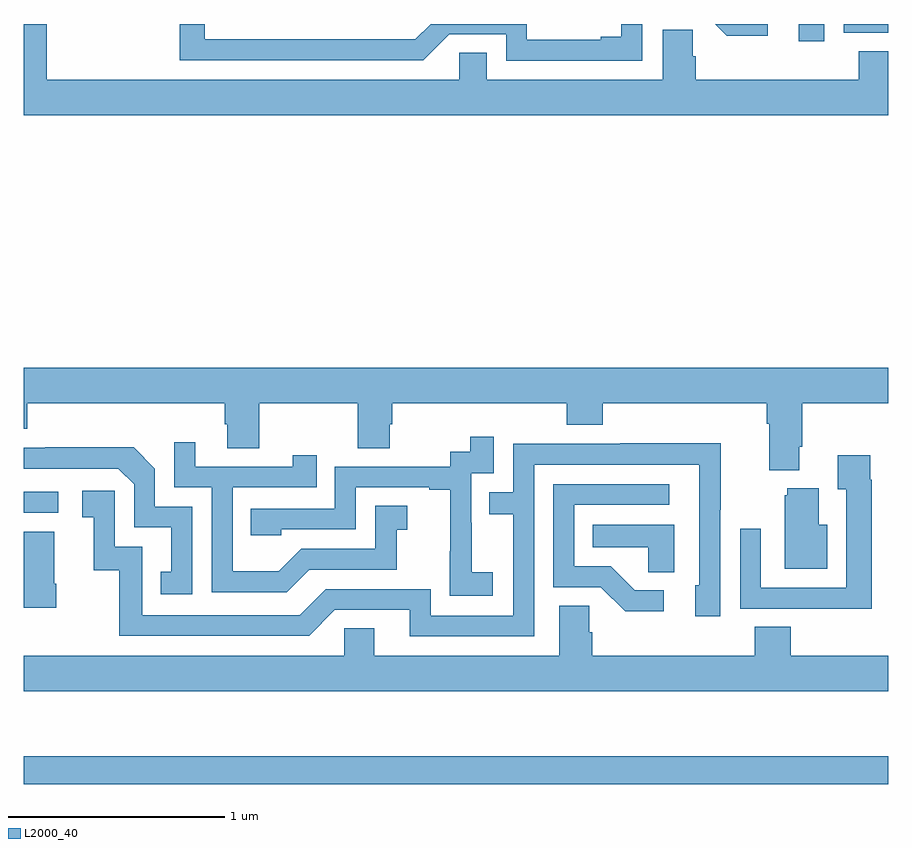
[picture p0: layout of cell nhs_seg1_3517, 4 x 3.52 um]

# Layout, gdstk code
import gdstk
lib = gdstk.Library(unit=1e-6, precision=1e-09)
def R(c, l, rs):  # rectangles x0, y0, x1, y1
    for r in rs: c.add(gdstk.rectangle(r[:2], r[2:], *l))
def P(c, l, *ps):  # polygons
    for p in ps: c.add(gdstk.Polygon(p, *l))
L2000_40 = (2000, 40)

nhs_seg1_3517 = lib.new_cell('nhs_seg1_3517')
R(nhs_seg1_3517, L2000_40, [(303,504.682,307,504.811), (303,505.938,303.16,506.034), (306.587,508.119,306.705,508.199), (306.795,508.158,307,508.199)])
P(nhs_seg1_3517, L2000_40, [(307,508.073),(306.863,508.073),(306.863,507.94),(306.11,507.94),(306.11,508.049),(306.096,508.049),(306.096,508.172),(305.957,508.172),(305.957,507.94),(305.143,507.94),(305.143,508.067),(305.016,508.067),(305.016,507.94),(303.107,507.94),(303.107,508.199),(303,508.199),(303,507.776),(307,507.776)],
  [(306.442,508.199),(306.2,508.199),(306.254,508.145),(306.442,508.145)],
  [(305.862,508.199),(305.765,508.199),(305.765,508.14),(305.669,508.14),(305.669,508.125),(305.328,508.125),(305.328,508.199),(304.883,508.199),(304.812,508.128),(303.837,508.128),(303.837,508.199),(303.721,508.199),(303.721,508.032),(304.848,508.032),(304.968,508.152),(305.232,508.152),(305.232,508.029),(305.862,508.029)],
  [(306.589,506.242),(306.602,506.242),(306.602,506.444),(307,506.444),(307,506.608),(303,506.608),(303,506.327),(303.017,506.327),(303.017,506.444),(303.929,506.444),(303.929,506.346),(303.941,506.346),(303.941,506.236),(304.089,506.236),(304.089,506.444),(304.546,506.444),(304.546,506.236),(304.693,506.236),(304.693,506.346),(304.706,506.346),(304.706,506.444),(305.513,506.444),(305.513,506.345),(305.678,506.345),(305.678,506.444),(306.437,506.444),(306.437,506.348),(306.449,506.348),(306.449,506.135),(306.589,506.135)],
  [(305.17,505.663),(305.072,505.663),(305.072,505.892),(305.07,505.892),(305.07,506.121),(305.175,506.121),(305.175,506.29),(305.067,506.29),(305.067,506.22),(304.974,506.22),(304.974,506.151),(304.44,506.151),(304.44,505.956),(304.051,505.956),(304.051,505.833),(304.191,505.833),(304.191,505.86),(304.536,505.86),(304.536,506.055),(304.877,506.055),(304.877,506.043),(304.973,506.043),(304.973,505.759),(304.972,505.759),(304.972,505.553),(305.17,505.553)],
  [(304.321,505.674),(304.725,505.674),(304.725,505.859),(304.774,505.859),(304.774,505.969),(304.626,505.969),(304.626,505.77),(304.284,505.77),(304.18,505.666),(303.966,505.666),(303.966,506.055),(304.355,506.055),(304.355,506.203),(304.244,506.203),(304.244,506.151),(303.793,506.151),(303.793,506.263),(303.696,506.263),(303.696,506.055),(303.87,506.055),(303.87,505.569),(304.216,505.569)],
  [(305.361,506.16),(306.126,506.16),(306.126,505.602),(306.107,505.602),(306.107,505.458),(306.222,505.458),(306.222,505.951),(306.225,505.951),(306.225,506.258),(305.761,506.258),(305.761,506.256),(305.265,506.256),(305.265,506.031),(305.155,506.031),(305.155,505.93),(305.265,505.93),(305.265,505.461),(304.884,505.461),(304.884,505.584),(304.398,505.584),(304.278,505.464),(303.549,505.464),(303.549,505.779),(303.42,505.779),(303.42,506.038),(303.27,506.038),(303.27,505.917),(303.323,505.917),(303.323,505.671),(303.441,505.671),(303.441,505.368),(304.32,505.368),(304.44,505.488),(304.787,505.488),(304.787,505.365),(305.361,505.365)],
  [(303.78,505.965),(303.606,505.965),(303.606,506.142),(303.508,506.24),(303.1,506.24),(303.1,506.238),(303,506.238),(303,506.142),(303.438,506.142),(303.51,506.07),(303.51,505.869),(303.683,505.869),(303.683,505.665),(303.634,505.665),(303.634,505.56),(303.78,505.56)],
  [(306.923,506.09),(306.916,506.09),(306.916,506.203),(306.767,506.203),(306.767,506.047),(306.807,506.047),(306.807,505.59),(306.411,505.59),(306.411,505.864),(306.315,505.864),(306.315,505.494),(306.631,505.494),(306.631,505.493),(306.923,505.493)],
  [(305.962,505.578),(305.827,505.578),(305.716,505.689),(305.547,505.689),(305.547,505.974),(305.986,505.974),(305.986,506.07),(305.451,506.07),(305.451,505.593),(305.67,505.593),(305.783,505.481),(305.962,505.481)],
  [(306.718,505.882),(306.679,505.882),(306.679,506.05),(306.533,506.05),(306.533,506.019),(306.521,506.019),(306.521,505.679),(306.718,505.679)],
  [(306.01,505.882),(305.632,505.882),(305.632,505.778),(305.889,505.778),(305.889,505.663),(306.01,505.663)],
  [(303.15,505.609),(303.142,505.609),(303.142,505.849),(303,505.849),(303,505.497),(303.15,505.497)],
  [(307,505.276),(306.548,505.276),(306.548,505.409),(306.383,505.409),(306.383,505.276),(305.63,505.276),(305.63,505.385),(305.616,505.385),(305.616,505.508),(305.477,505.508),(305.477,505.276),(304.621,505.276),(304.621,505.403),(304.482,505.403),(304.482,505.276),(303,505.276),(303,505.112),(307,505.112)])

lib.write_gds('nhs_seg1_3517.gds')
